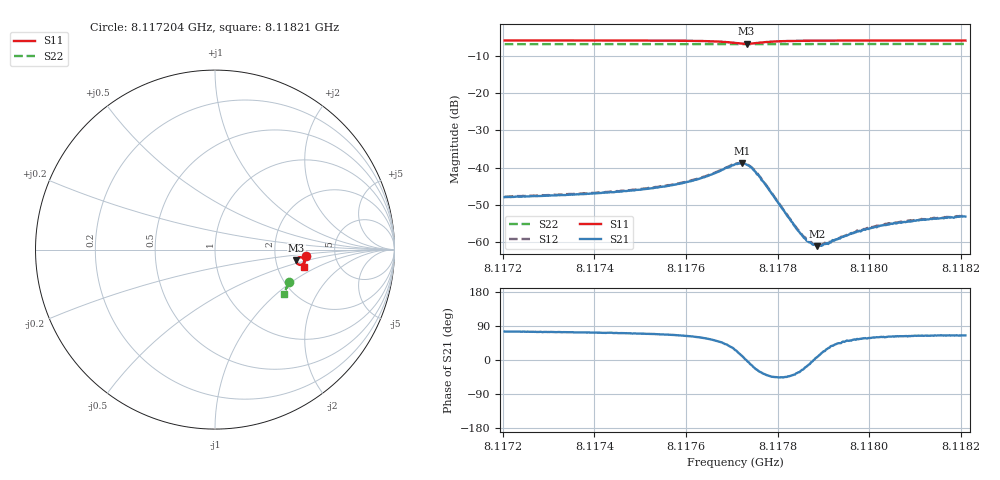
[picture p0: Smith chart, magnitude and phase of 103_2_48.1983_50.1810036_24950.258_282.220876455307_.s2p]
#  HZ  S  RI  R  50.00
! Rohde & Schwarz Vector Network Analyzer
! Rohde-Schwarz,ZNB20-2Port,1311601062101988,3.16
! Created: UTC 3/20/2024, 11:40:40 AM
! freq[Hz]  re:S11  im:S11  re:S21  im:S21  re:S12  im:S12  re:S22  im:S22
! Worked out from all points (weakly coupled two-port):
!   401 points, 8.117204 GHz to 8.11821 GHz, reference 50 ohm
!   highest |S21| = -38.81 dB at 8.117722 GHz (marker M1); lowest = -61.0 dB at 8.117886 GHz (marker M2)
!   lowest |S11| = -6.8 dB at 8.117732 GHz (marker M3), VSWR 2.68, Z = 131 - j19.9 ohm
!   |S11| at or under -10 dB: nowhere
!   |S22| runs from -6.9 to -6.9 dB; largest |S21 - S12| = 0.00042
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8.1172038e9  0.5046 -0.0331  0.00104 0.00391  0.00109 0.00395  0.4126 -0.183
8.1173724e9  0.5031 -0.0474  0.00131 0.00424  0.00141 0.00432  0.408 -0.194
8.1174479e9  0.5018 -0.0544  0.00152 0.00452  0.00162 0.00459  0.4057 -0.1988
8.1175409e9  0.4993 -0.0641  0.00207 0.00509  0.0022 0.00516  0.403 -0.2048
8.1175787e9  0.4973 -0.0691  0.00248 0.00547  0.0026 0.00554  0.4019 -0.2073
8.1176265e9  0.4928 -0.0764  0.00347 0.00613  0.00364 0.0062  0.4002 -0.2104
8.117707e9  0.462 -0.0813  0.00998 0.00493  0.01 0.00499  0.3965 -0.215
8.1177221e9  0.4537 -0.0706  0.0113 0.00224  0.0113 0.00213  0.3958 -0.2155
8.1177321e9  0.4528 -0.0603  0.011 -0.000129  0.0112 -0.00032  0.3955 -0.2154
8.1177447e9  0.4585 -0.0488  0.00948 -0.00256  0.0095 -0.00282  0.3956 -0.2158
8.1177623e9  0.4719 -0.0421  0.00629 -0.00392  0.00634 -0.00395  0.3958 -0.2167
8.1178453e9  0.4966 -0.059  0.00121 -0.000766  0.00123 -0.000811  0.3942 -0.2227
8.117863e9  0.4975 -0.0621  0.00102 -0.000321  0.00103 -0.000329  0.3937 -0.224
8.1178755e9  0.4979 -0.0644  0.000946 -7.32e-05  0.000967 -7.96e-05  0.3933 -0.2248
8.1178856e9  0.4981 -0.0657  0.000886 0.000106  0.000966 0.000119  0.3928 -0.2255
8.1178931e9  0.4983 -0.067  0.000878 0.000236  0.000888 0.000239  0.3927 -0.2259
8.1179107e9  0.4983 -0.0694  0.000813 0.000498  0.000874 0.000511  0.392 -0.227
8.1179233e9  0.4986 -0.0709  0.000815 0.000674  0.000856 0.000646  0.3917 -0.2279
8.1179736e9  0.4983 -0.0767  0.000789 0.00115  0.000868 0.00116  0.39 -0.231
8.1180441e9  0.4978 -0.0838  0.00083 0.00154  0.000867 0.00159  0.3876 -0.2356
8.1181095e9  0.4968 -0.0898  0.000868 0.00178  0.000914 0.00181  0.3855 -0.2394
8.1182101e9  0.4953 -0.0982  0.000942 0.00201  0.00101 0.00208  0.3819 -0.2457
